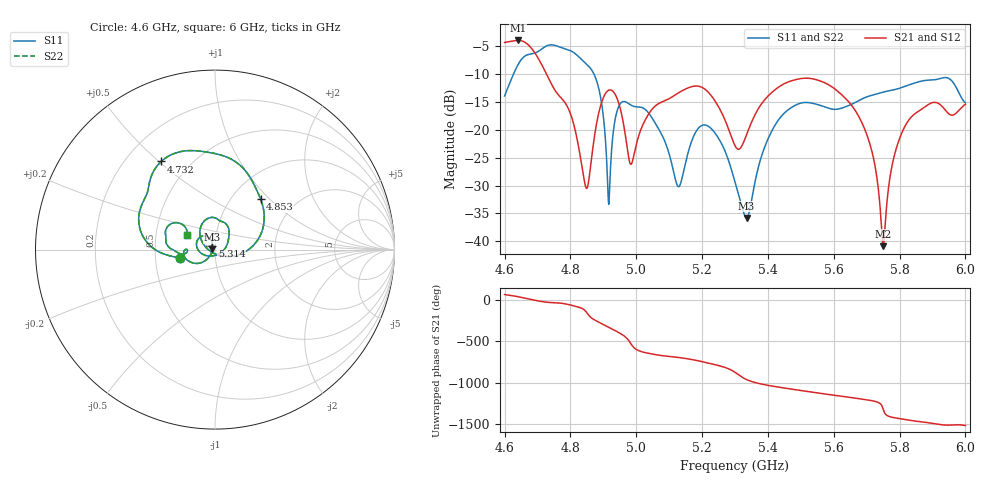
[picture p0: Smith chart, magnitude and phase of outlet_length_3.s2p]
! TOUCHSTONE file generated by CST MICROWAVE STUDIO
! Date and time: Mon Dec  2 04:50:23 2024
! Project name: test_tuning.cst
! Parameters = {airCoaxOuterDiameter=3; chamferAngle=45; chamferWidth=24; connectorLength=10; drillingHoleDiameter=4.1; feedLength=60; flareDiameter=130; flareLength=70; gratingDistance=0; gratingGap=1.90274; outletLength=15; polarizerLength=134; probe1Diameter=1.3; probe1Distance=14; probe1Length=1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
! Header version: 2024
! Port assignment regex: !\s*Touchstone port\s*([0-9]+)\s*=\s*(CST MWS port|CST DES external port|CST DES block port)\s*(.+)\s* \(\"(.*)\"\)(\s*mode\s*([0-9]+))?.*
! Touchstone port assignment:
! Touchstone port 1 = CST MWS port 1 ("Input1")
! Touchstone port 2 = CST MWS port 2 ("Input2")
# GHz S MA R 50
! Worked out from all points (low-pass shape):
!   1001 points, 4.6 GHz to 6 GHz, reference 50 ohm
!   highest |S21| = -3.92 dB at 4.641 GHz (marker M1); lowest = -40.9 dB at 5.751 GHz (marker M2)
!   |S21| within 3 dB of the highest: start of sweep to 4.7 GHz
!   lowest |S11| = -35.8 dB at 5.335 GHz (marker M3), VSWR 1.03, Z = 48.4 + j0.127 ohm
!   |S11| at or under -10 dB: start of sweep to 4.627 GHz; 4.872 GHz to end of sweep
!   |S22| runs from -35.8 to -4.7 dB; largest |S21 - S12| = 2e-06
!   S11 on the Smith chart (normalised r, x): 4.6 GHz: 0.67, -0.06; 4.732 GHz: 0.35, +0.51; 4.853 GHz: 1.35, +0.89; 5.314 GHz: 0.97, +0.04; 6 GHz: 0.72, +0.12
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4.6  0.2019 -166.8  0.6117 62.7  0.6117 62.7  0.2019 -166.8
4.6406  0.3854 173.3  0.6369 36.6  0.6369 36.6  0.3854 173.3
4.7316  0.5754 121.3  0.2995 -31.1  0.2995 -31.1  0.5754 121.3
4.8338  0.4302 60.6  0.04941 -101.5  0.04941 -101.5  0.4302 60.6
4.8534  0.379 47.9  0.03202 -175.9  0.03202 -175.9  0.379 47.9
4.8912  0.1998 2.9  0.1633 79.6  0.1633 79.6  0.1998 2.9
4.9164  0.02146 -121.2  0.2276 28.8  0.2276 28.8  0.02146 -121.2
4.943  0.1522 120.9  0.1877 -26.6  0.1877 -26.6  0.1522 120.9
4.9836  0.1674 83.6  0.04908 -170.0  0.04908 -170.0  0.1674 83.6
5.0676  0.1025 41.5  0.1724 53.1  0.1724 53.1  0.1025 41.5
5.1264  0.03119 -59.1  0.2137 25.9  0.2137 25.9  0.03119 -59.1
5.2062  0.1109 151.5  0.2352 -31.2  0.2352 -31.2  0.1109 151.5
5.3  0.03403 115.9  0.07232 -153.1  0.07232 -153.1  0.03403 115.9
5.314  0.02416 129.2  0.06758 167.4  0.06758 167.4  0.02416 129.2
5.335  0.01621 175.4  0.09041 118.7  0.09041 118.7  0.01621 175.4
5.4204  0.1089 -137.2  0.2283 35.3  0.2283 35.3  0.1089 -137.2
5.5338  0.1741 -175.9  0.2887 -32.7  0.2887 -32.7  0.1741 -175.9
5.6864  0.1904 -172.4  0.1147 -116.9  0.1147 -116.9  0.1904 -172.4
5.7508  0.219 -177.2  0.009035 115.4  0.009035 115.4  0.219 -177.2
5.7676  0.2249 -178.6  0.03223 35.7  0.03223 35.7  0.2249 -178.6
5.8362  0.2586 176.7  0.1312 -15.1  0.1312 -15.1  0.2586 176.7
6  0.1756 151.8  0.1699 -73.8  0.1699 -73.8  0.1756 151.8
